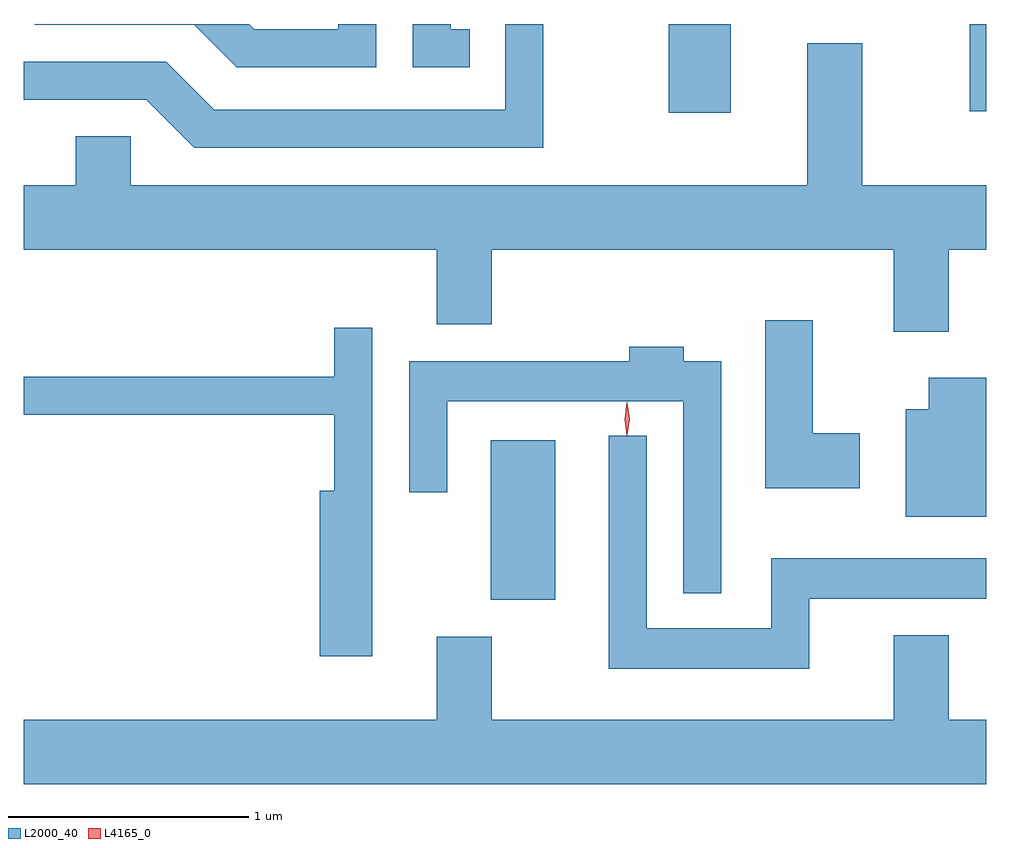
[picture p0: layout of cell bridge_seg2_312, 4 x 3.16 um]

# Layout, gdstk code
import gdstk
lib = gdstk.Library(unit=1e-6, precision=1e-09)
def R(c, l, rs):  # rectangles x0, y0, x1, y1
    for r in rs: c.add(gdstk.rectangle(r[:2], r[2:], *l))
def P(c, l, *ps):  # polygons
    for p in ps: c.add(gdstk.Polygon(p, *l))
L2000_40 = (2000, 40)
L4165_0 = (4165, 0)

bridge_seg2_312 = lib.new_cell('bridge_seg2_312')
R(bridge_seg2_312, L2000_40, [(411.366,1080.161,411.634,1080.824), (412.106,1082.186,412.364,1082.555), (413.356,1082.193,413.425,1082.555)])
P(bridge_seg2_312, L2000_40, [(410.889,1082.555),(410.731,1082.555),(410.731,1082.534),(410.382,1082.534),(410.361,1082.555),(409.471,1082.555),(409.471,1082.551),(410.134,1082.551),(410.309,1082.376),(410.889,1082.376)],
  [(411.278,1082.534),(411.199,1082.534),(411.199,1082.555),(411.041,1082.555),(411.041,1082.376),(411.278,1082.376)],
  [(411.584,1082.555),(411.426,1082.555),(411.426,1082.199),(410.217,1082.199),(410.017,1082.399),(409.425,1082.399),(409.425,1082.241),(409.934,1082.241),(410.134,1082.041),(411.584,1082.041)],
  [(413.269,1081.616),(413.425,1081.616),(413.425,1081.884),(412.909,1081.884),(412.909,1082.474),(412.681,1082.474),(412.681,1081.884),(409.869,1081.884),(409.869,1082.089),(409.641,1082.089),(409.641,1081.884),(409.425,1081.884),(409.425,1081.616),(411.141,1081.616),(411.141,1081.306),(411.369,1081.306),(411.369,1081.616),(413.041,1081.616),(413.041,1081.276),(413.269,1081.276)],
  [(412.899,1080.854),(412.704,1080.854),(412.704,1081.324),(412.506,1081.324),(412.506,1080.626),(412.899,1080.626)],
  [(410.874,1081.293),(410.716,1081.293),(410.716,1081.089),(409.425,1081.089),(409.425,1080.931),(410.716,1080.931),(410.716,1080.614),(410.656,1080.614),(410.656,1079.926),(410.874,1079.926)],
  [(412.324,1081.154),(412.169,1081.154),(412.169,1081.214),(411.941,1081.214),(411.941,1081.154),(411.026,1081.154),(411.026,1080.608),(411.184,1080.608),(411.184,1080.986),(412.166,1080.986),(412.166,1080.188),(412.324,1080.188)],
  [(413.425,1081.084),(413.186,1081.084),(413.186,1080.954),(413.091,1080.954),(413.091,1080.506),(413.425,1080.506)],
  [(412.689,1080.166),(413.425,1080.166),(413.425,1080.334),(412.531,1080.334),(412.531,1080.044),(412.014,1080.044),(412.014,1080.843),(411.856,1080.843),(411.856,1079.876),(412.689,1079.876)],
  [(413.425,1079.664),(413.269,1079.664),(413.269,1080.014),(413.041,1080.014),(413.041,1079.664),(411.369,1079.664),(411.369,1080.009),(411.141,1080.009),(411.141,1079.664),(409.425,1079.664),(409.425,1079.396),(413.425,1079.396)])
P(bridge_seg2_312, L4165_0, [(411.932,1080.843),(411.932,1080.844),(411.922,1080.913),(411.932,1080.982),(411.932,1080.983),(411.933,1080.982),(411.942,1080.913),(411.933,1080.844)],
  [(411.934,1080.847),(411.933,1080.848),(411.924,1080.914),(411.933,1080.98),(411.934,1080.98),(411.934,1080.98),(411.944,1080.914),(411.934,1080.848)])

lib.write_gds('bridge_seg2_312.gds')
